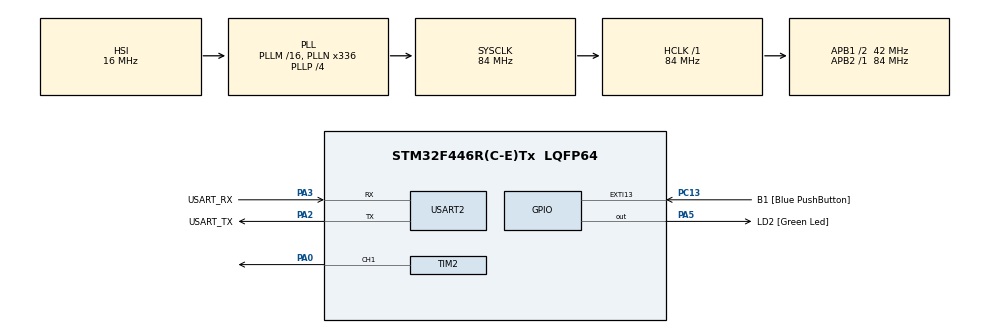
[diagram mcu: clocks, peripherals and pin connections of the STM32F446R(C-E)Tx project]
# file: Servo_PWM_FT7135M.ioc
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Mcu.Family=STM32F4
Mcu.Name=STM32F446R(C-E)Tx
Mcu.Package=LQFP64
NVIC.PriorityGroup=NVIC_PRIORITYGROUP_0
PA0-WKUP.Signal=S_TIM2_CH1_ETR
PA13.GPIO_Label=TMS
PA13.Mode=Serial_Wire
PA13.Signal=SYS_JTMS-SWDIO
PA14.GPIO_Label=TCK
PA14.Mode=Serial_Wire
PA14.Signal=SYS_JTCK-SWCLK
PA2.GPIO_Label=USART_TX
PA2.Mode=Asynchronous
PA2.Signal=USART2_TX
PA3.GPIO_Label=USART_RX
PA3.Mode=Asynchronous
PA3.Signal=USART2_RX
PA5.GPIO_Label=LD2 [Green Led]
PA5.Signal=GPIO_Output
PB3.GPIO_Label=SWO
PB3.Signal=SYS_JTDO-SWO
PC13.GPIO_Label=B1 [Blue PushButton]
PC13.GPIO_ModeDefaultEXTI=GPIO_MODE_IT_FALLING
PC13.Signal=GPXTI13
PC14-OSC32_IN.Mode=LSE-External-Oscillator
PC14-OSC32_IN.Signal=RCC_OSC32_IN
PC15-OSC32_OUT.Mode=LSE-External-Oscillator
PC15-OSC32_OUT.Signal=RCC_OSC32_OUT
PH0-OSC_IN.Mode=HSE-External-Oscillator
PH0-OSC_IN.Signal=RCC_OSC_IN
PH1-OSC_OUT.Mode=HSE-External-Oscillator
PH1-OSC_OUT.Signal=RCC_OSC_OUT
ProjectManager.HeapSize=0x200
ProjectManager.StackSize=0x400
ProjectManager.TargetToolchain=STM32CubeIDE
RCC.48MHZClocksFreq_Value=84000000
RCC.AHBFreq_Value=84000000
RCC.APB1CLKDivider=RCC_HCLK_DIV2
RCC.APB1Freq_Value=42000000
RCC.APB1TimFreq_Value=84000000
RCC.APB2Freq_Value=84000000
RCC.APB2TimFreq_Value=84000000
RCC.CortexFreq_Value=84000000
RCC.FLatency-AdvancedSettings=FLASH_LATENCY_2
RCC.HCLKFreq_Value=84000000
RCC.HSE_VALUE=8000000
RCC.HSI_VALUE=16000000
RCC.PLLN=336
RCC.PLLP=RCC_PLLP_DIV4
RCC.SYSCLKFreq_VALUE=84000000
RCC.SYSCLKSource=RCC_SYSCLKSOURCE_PLLCLK
RCC.USBFreq_Value=168000000
RCC.VCOOutputFreq_Value=336000000
SH.S_TIM2_CH1_ETR.0=TIM2_CH1,PWM Generation1 CH1
TIM2.Channel-PWM\ Generation1\ CH1=TIM_CHANNEL_1
TIM2.Period=19999
TIM2.Prescaler=83
USART2.VirtualMode=VM_ASYNC
board=NUCLEO-F446RE

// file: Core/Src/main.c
/* USER CODE BEGIN Header */
/**
  ******************************************************************************
  * @file           : main.c
  * @brief          : Main program body
  ******************************************************************************
  * @attention
  *
  * Copyright (c) 2025 STMicroelectronics.
  * All rights reserved.
  *
  * This software is licensed under terms that can be found in the LICENSE file
  * in the root directory of this software component.
  * If no LICENSE file comes with this software, it is provided AS-IS.
  *
  ******************************************************************************
  */
/* USER CODE END Header */
#include "main.h"

TIM_HandleTypeDef htim2;

UART_HandleTypeDef huart2;

void SystemClock_Config(void);
static void MX_GPIO_Init(void);
static void MX_USART2_UART_Init(void);
static void MX_TIM2_Init(void);
/* USER CODE BEGIN PFP */
void Servo_Set_Angle(uint8_t angle);
void Servo_Angle(uint8_t angle);
/* USER CODE END PFP */

int main(void)
{

  /* MCU Configuration--------------------------------------------------------*/

  /* Reset of all peripherals, Initializes the Flash interface and the Systick. */
  HAL_Init();

  /* Configure the system clock */
  SystemClock_Config();

  /* Initialize all configured peripherals */
  MX_GPIO_Init();
  MX_USART2_UART_Init();
  MX_TIM2_Init();
  /* USER CODE BEGIN 2 */

  HAL_TIM_PWM_Start(&htim2, TIM_CHANNEL_1);

  //Servo_Angle(0);
  /* USER CODE END 2 */

  /* Infinite loop */
  /* USER CODE BEGIN WHILE */
  while (1)
  {

	 /*for(int8_t i = -30 ; i <= 30 ; i += 5)
  {
      Servo_Angle(i);
      HAL_Delay(100);
  }

  for(int8_t i = 30 ; i >= -30 ; i -= 5)
  {
      Servo_Angle(i);
      HAL_Delay(100);
  }*/

	 Servo_Angle(0);
	 HAL_Delay(1000);
	  Servo_Angle(30);
	  HAL_Delay(1000);
	  Servo_Angle(-30);
	  HAL_Delay(1000);
	  /*Servo_Angle(-29);
	  HAL_Delay(1000);
	  Servo_Angle(0);
	  HAL_Delay(1000);*/

	  /*Servo_Angle(-91);
	  HAL_Delay(1000);
	  Servo_Angle(91);
	  HAL_Delay(1000);*/
	 /* Servo_Angle(0);
	  HAL_Delay(1000);
	  Servo_Angle(45);
	  HAL_Delay(1000);
	  Servo_Angle(90);
	  HAL_Delay(1000);*/

    /* USER CODE END WHILE */

  }
}

void SystemClock_Config(void)
{
  RCC_OscInitTypeDef RCC_OscInitStruct = {0};
  RCC_ClkInitTypeDef RCC_ClkInitStruct = {0};

  /** Configure the main internal regulator output voltage
  */
  __HAL_RCC_PWR_CLK_ENABLE();
  __HAL_PWR_VOLTAGESCALING_CONFIG(PWR_REGULATOR_VOLTAGE_SCALE3);

  /** Initializes the RCC Oscillators according to the specified parameters
  * in the RCC_OscInitTypeDef structure.
  */
  RCC_OscInitStruct.OscillatorType = RCC_OSCILLATORTYPE_HSI;
  RCC_OscInitStruct.HSIState = RCC_HSI_ON;
  RCC_OscInitStruct.HSICalibrationValue = RCC_HSICALIBRATION_DEFAULT;
  RCC_OscInitStruct.PLL.PLLState = RCC_PLL_ON;
  RCC_OscInitStruct.PLL.PLLSource = RCC_PLLSOURCE_HSI;
  RCC_OscInitStruct.PLL.PLLM = 16;
  RCC_OscInitStruct.PLL.PLLN = 336;
  RCC_OscInitStruct.PLL.PLLP = RCC_PLLP_DIV4;
  RCC_OscInitStruct.PLL.PLLQ = 2;
  RCC_OscInitStruct.PLL.PLLR = 2;
  if (HAL_RCC_OscConfig(&RCC_OscInitStruct) != HAL_OK)
  {
    Error_Handler();
  }

  /** Initializes the CPU, AHB and APB buses clocks
  */
  RCC_ClkInitStruct.ClockType = RCC_CLOCKTYPE_HCLK|RCC_CLOCKTYPE_SYSCLK
                              |RCC_CLOCKTYPE_PCLK1|RCC_CLOCKTYPE_PCLK2;
  RCC_ClkInitStruct.SYSCLKSource = RCC_SYSCLKSOURCE_PLLCLK;
  RCC_ClkInitStruct.AHBCLKDivider = RCC_SYSCLK_DIV1;
  RCC_ClkInitStruct.APB1CLKDivider = RCC_HCLK_DIV2;
  RCC_ClkInitStruct.APB2CLKDivider = RCC_HCLK_DIV1;

  if (HAL_RCC_ClockConfig(&RCC_ClkInitStruct, FLASH_LATENCY_2) != HAL_OK)
  {
    Error_Handler();
  }
}

static void MX_TIM2_Init(void)
{

  TIM_MasterConfigTypeDef sMasterConfig = {0};
  TIM_OC_InitTypeDef sConfigOC = {0};

  htim2.Instance = TIM2;
  htim2.Init.Prescaler = 83;
  htim2.Init.CounterMode = TIM_COUNTERMODE_UP;
  htim2.Init.Period = 19999;
  htim2.Init.ClockDivision = TIM_CLOCKDIVISION_DIV1;
  htim2.Init.AutoReloadPreload = TIM_AUTORELOAD_PRELOAD_DISABLE;
  if (HAL_TIM_PWM_Init(&htim2) != HAL_OK)
  {
    Error_Handler();
  }
  sMasterConfig.MasterOutputTrigger = TIM_TRGO_RESET;
  sMasterConfig.MasterSlaveMode = TIM_MASTERSLAVEMODE_DISABLE;
  if (HAL_TIMEx_MasterConfigSynchronization(&htim2, &sMasterConfig) != HAL_OK)
  {
    Error_Handler();
  }
  sConfigOC.OCMode = TIM_OCMODE_PWM1;
  sConfigOC.Pulse = 0;
  sConfigOC.OCPolarity = TIM_OCPOLARITY_HIGH;
  sConfigOC.OCFastMode = TIM_OCFAST_DISABLE;
  if (HAL_TIM_PWM_ConfigChannel(&htim2, &sConfigOC, TIM_CHANNEL_1) != HAL_OK)
  {
    Error_Handler();
  }
  HAL_TIM_MspPostInit(&htim2);

}

static void MX_USART2_UART_Init(void)
{

  huart2.Instance = USART2;
  huart2.Init.BaudRate = 115200;
  huart2.Init.WordLength = UART_WORDLENGTH_8B;
  huart2.Init.StopBits = UART_STOPBITS_1;
  huart2.Init.Parity = UART_PARITY_NONE;
  huart2.Init.Mode = UART_MODE_TX_RX;
  huart2.Init.HwFlowCtl = UART_HWCONTROL_NONE;
  huart2.Init.OverSampling = UART_OVERSAMPLING_16;
  if (HAL_UART_Init(&huart2) != HAL_OK)
  {
    Error_Handler();
  }

}

static void MX_GPIO_Init(void)
{
  GPIO_InitTypeDef GPIO_InitStruct = {0};

  /* GPIO Ports Clock Enable */
  __HAL_RCC_GPIOC_CLK_ENABLE();
  __HAL_RCC_GPIOH_CLK_ENABLE();
  __HAL_RCC_GPIOA_CLK_ENABLE();
  __HAL_RCC_GPIOB_CLK_ENABLE();

  /*Configure GPIO pin Output Level */
  HAL_GPIO_WritePin(LD2_GPIO_Port, LD2_Pin, GPIO_PIN_RESET);

  /*Configure GPIO pin : B1_Pin */
  GPIO_InitStruct.Pin = B1_Pin;
  GPIO_InitStruct.Mode = GPIO_MODE_IT_FALLING;
  GPIO_InitStruct.Pull = GPIO_NOPULL;
  HAL_GPIO_Init(B1_GPIO_Port, &GPIO_InitStruct);

  /*Configure GPIO pin : LD2_Pin */
  GPIO_InitStruct.Pin = LD2_Pin;
  GPIO_InitStruct.Mode = GPIO_MODE_OUTPUT_PP;
  GPIO_InitStruct.Pull = GPIO_NOPULL;
  GPIO_InitStruct.Speed = GPIO_SPEED_FREQ_LOW;
  HAL_GPIO_Init(LD2_GPIO_Port, &GPIO_InitStruct);

}

/* USER CODE BEGIN 4 */

void Servo_Set_Angle(uint8_t angle)
{
    uint16_t pulse = (uint16_t)((angle * 11.11f) + 500);
    __HAL_TIM_SET_COMPARE(&htim2, TIM_CHANNEL_1, pulse);
}

void Servo_Angle(uint8_t angle)
{
	if((angle >= -90) || (angle <= 90))
	{
		Servo_Set_Angle((angle+90));
	}
	else {}

}

/* USER CODE END 4 */

void Error_Handler(void)
{
  __disable_irq();
  while (1)
  {
  }
}
